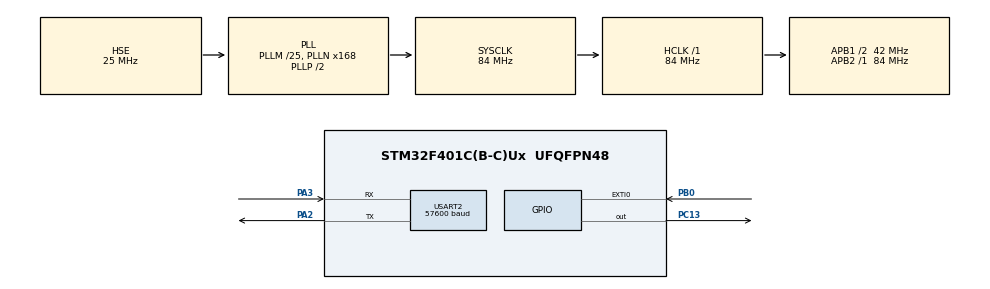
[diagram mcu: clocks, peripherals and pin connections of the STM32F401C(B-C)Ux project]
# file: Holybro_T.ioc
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Dma.Request0=USART2_TX
Dma.USART2_TX.0.Direction=DMA_MEMORY_TO_PERIPH
Dma.USART2_TX.0.FIFOMode=DMA_FIFOMODE_DISABLE
Dma.USART2_TX.0.Instance=DMA1_Stream6
Dma.USART2_TX.0.MemDataAlignment=DMA_MDATAALIGN_BYTE
Dma.USART2_TX.0.MemInc=DMA_MINC_ENABLE
Dma.USART2_TX.0.Mode=DMA_NORMAL
Dma.USART2_TX.0.PeriphDataAlignment=DMA_PDATAALIGN_BYTE
Dma.USART2_TX.0.PeriphInc=DMA_PINC_DISABLE
Dma.USART2_TX.0.Priority=DMA_PRIORITY_LOW
Mcu.Family=STM32F4
Mcu.Name=STM32F401C(B-C)Ux
Mcu.Package=UFQFPN48
NVIC.DMA1_Stream6_IRQn=true\:0\:0\:false\:false\:true\:false\:true\:true
NVIC.EXTI0_IRQn=true\:0\:0\:false\:false\:true\:true\:true\:true
NVIC.PriorityGroup=NVIC_PRIORITYGROUP_4
NVIC.USART2_IRQn=true\:0\:0\:false\:false\:true\:true\:true\:true
PA13.Mode=Serial_Wire
PA13.Signal=SYS_JTMS-SWDIO
PA14.Mode=Serial_Wire
PA14.Signal=SYS_JTCK-SWCLK
PA2.Mode=Asynchronous
PA2.Signal=USART2_TX
PA3.Mode=Asynchronous
PA3.Signal=USART2_RX
PB0.Signal=GPXTI0
PC13-ANTI_TAMP.Signal=GPIO_Output
PH0\ -\ OSC_IN.Mode=HSE-External-Oscillator
PH0\ -\ OSC_IN.Signal=RCC_OSC_IN
PH1\ -\ OSC_OUT.Mode=HSE-External-Oscillator
PH1\ -\ OSC_OUT.Signal=RCC_OSC_OUT
ProjectManager.HeapSize=0x200
ProjectManager.StackSize=0x400
ProjectManager.TargetToolchain=STM32CubeIDE
RCC.48MHZClocksFreq_Value=42000000
RCC.AHBFreq_Value=84000000
RCC.APB1CLKDivider=RCC_HCLK_DIV2
RCC.APB1Freq_Value=42000000
RCC.APB1TimFreq_Value=84000000
RCC.APB2Freq_Value=84000000
RCC.APB2TimFreq_Value=84000000
RCC.CortexFreq_Value=84000000
RCC.HCLKFreq_Value=84000000
RCC.HSE_VALUE=25000000
RCC.HSI_VALUE=16000000
RCC.LSE_VALUE=32768
RCC.PLLM=25
RCC.PLLN=168
RCC.PLLSourceVirtual=RCC_PLLSOURCE_HSE
RCC.SYSCLKFreq_VALUE=84000000
RCC.SYSCLKSource=RCC_SYSCLKSOURCE_PLLCLK
RCC.VCOOutputFreq_Value=168000000
USART2.BaudRate=57600
USART2.VirtualMode=VM_ASYNC
board=custom

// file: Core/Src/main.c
/* USER CODE BEGIN Header */
/**
  ******************************************************************************
  * @file           : main.c
  * @brief          : Main program body
  ******************************************************************************
  * @attention
  *
  * Copyright (c) 2025 STMicroelectronics.
  * All rights reserved.
  *
  * This software is licensed under terms that can be found in the LICENSE file
  * in the root directory of this software component.
  * If no LICENSE file comes with this software, it is provided AS-IS.
  *
  ******************************************************************************
  */
/* USER CODE END Header */
#include "main.h"

/* USER CODE BEGIN Includes */
#include "string.h"
/* USER CODE END Includes */

UART_HandleTypeDef huart2;
DMA_HandleTypeDef hdma_usart2_tx;

void SystemClock_Config(void);
static void MX_GPIO_Init(void);
static void MX_DMA_Init(void);
static void MX_USART2_UART_Init(void);

/* USER CODE BEGIN 0 */
uint8_t tx_data = 0;
uint8_t zero_count = 0;

typedef enum {
    TX_STATE_INIT,
    TX_STATE_IDLE,
    TX_STATE_CONTINUOUS_1
} TX_State;

TX_State current_state = TX_STATE_INIT;

// --- DMA Transfer Complete Callback ---
void HAL_UART_TxCpltCallback(UART_HandleTypeDef *huart) {
    switch (current_state) {
        case TX_STATE_INIT:
            zero_count++;
            if (zero_count < 3) {
                HAL_UART_Transmit_DMA(&huart2, &tx_data, 1);
            } else {
                current_state = TX_STATE_IDLE;
            }
            break;

        case TX_STATE_CONTINUOUS_1:
            HAL_UART_Transmit_DMA(&huart2, &tx_data, 1);
            break;

        case TX_STATE_IDLE:
        default:
            // Do nothing
            break;
    }
}

void HAL_GPIO_EXTI_Callback(uint16_t GPIO_Pin) {
    if (GPIO_Pin == GPIO_PIN_0 && current_state != TX_STATE_CONTINUOUS_1) {
    	HAL_GPIO_TogglePin(GPIOC, GPIO_PIN_13);
        tx_data = 1;
        current_state = TX_STATE_CONTINUOUS_1;
        HAL_UART_Transmit_DMA(&huart2, &tx_data, 1);
    }
}

/* USER CODE END 0 */

int main(void)
{

  /* MCU Configuration--------------------------------------------------------*/

  /* Reset of all peripherals, Initializes the Flash interface and the Systick. */
  HAL_Init();

  /* Configure the system clock */
  SystemClock_Config();

  /* Initialize all configured peripherals */
  MX_GPIO_Init();
  MX_DMA_Init();
  MX_USART2_UART_Init();
  /* USER CODE BEGIN 2 */
  current_state = TX_STATE_INIT;
    HAL_UART_Transmit_DMA(&huart2, &tx_data, 1);

  /* USER CODE END 2 */

  /* Infinite loop */
  while (1)
  {

  }
}

void SystemClock_Config(void)
{
  RCC_OscInitTypeDef RCC_OscInitStruct = {0};
  RCC_ClkInitTypeDef RCC_ClkInitStruct = {0};

  /** Configure the main internal regulator output voltage
  */
  __HAL_RCC_PWR_CLK_ENABLE();
  __HAL_PWR_VOLTAGESCALING_CONFIG(PWR_REGULATOR_VOLTAGE_SCALE2);

  /** Initializes the RCC Oscillators according to the specified parameters
  * in the RCC_OscInitTypeDef structure.
  */
  RCC_OscInitStruct.OscillatorType = RCC_OSCILLATORTYPE_HSE;
  RCC_OscInitStruct.HSEState = RCC_HSE_ON;
  RCC_OscInitStruct.PLL.PLLState = RCC_PLL_ON;
  RCC_OscInitStruct.PLL.PLLSource = RCC_PLLSOURCE_HSE;
  RCC_OscInitStruct.PLL.PLLM = 25;
  RCC_OscInitStruct.PLL.PLLN = 168;
  RCC_OscInitStruct.PLL.PLLP = RCC_PLLP_DIV2;
  RCC_OscInitStruct.PLL.PLLQ = 4;
  if (HAL_RCC_OscConfig(&RCC_OscInitStruct) != HAL_OK)
  {
    Error_Handler();
  }

  /** Initializes the CPU, AHB and APB buses clocks
  */
  RCC_ClkInitStruct.ClockType = RCC_CLOCKTYPE_HCLK|RCC_CLOCKTYPE_SYSCLK
                              |RCC_CLOCKTYPE_PCLK1|RCC_CLOCKTYPE_PCLK2;
  RCC_ClkInitStruct.SYSCLKSource = RCC_SYSCLKSOURCE_PLLCLK;
  RCC_ClkInitStruct.AHBCLKDivider = RCC_SYSCLK_DIV1;
  RCC_ClkInitStruct.APB1CLKDivider = RCC_HCLK_DIV2;
  RCC_ClkInitStruct.APB2CLKDivider = RCC_HCLK_DIV1;

  if (HAL_RCC_ClockConfig(&RCC_ClkInitStruct, FLASH_LATENCY_2) != HAL_OK)
  {
    Error_Handler();
  }
}

static void MX_USART2_UART_Init(void)
{

  huart2.Instance = USART2;
  huart2.Init.BaudRate = 57600;
  huart2.Init.WordLength = UART_WORDLENGTH_8B;
  huart2.Init.StopBits = UART_STOPBITS_1;
  huart2.Init.Parity = UART_PARITY_NONE;
  huart2.Init.Mode = UART_MODE_TX_RX;
  huart2.Init.HwFlowCtl = UART_HWCONTROL_NONE;
  huart2.Init.OverSampling = UART_OVERSAMPLING_16;
  if (HAL_UART_Init(&huart2) != HAL_OK)
  {
    Error_Handler();
  }

}

static void MX_DMA_Init(void)
{

  /* DMA controller clock enable */
  __HAL_RCC_DMA1_CLK_ENABLE();

  /* DMA interrupt init */
  /* DMA1_Stream6_IRQn interrupt configuration */
  HAL_NVIC_SetPriority(DMA1_Stream6_IRQn, 0, 0);
  HAL_NVIC_EnableIRQ(DMA1_Stream6_IRQn);

}

static void MX_GPIO_Init(void)
{
  GPIO_InitTypeDef GPIO_InitStruct = {0};

  /* GPIO Ports Clock Enable */
  __HAL_RCC_GPIOC_CLK_ENABLE();
  __HAL_RCC_GPIOH_CLK_ENABLE();
  __HAL_RCC_GPIOA_CLK_ENABLE();
  __HAL_RCC_GPIOB_CLK_ENABLE();

  /*Configure GPIO pin Output Level */
  HAL_GPIO_WritePin(GPIOC, GPIO_PIN_13, GPIO_PIN_RESET);

  /*Configure GPIO pin : PC13 */
  GPIO_InitStruct.Pin = GPIO_PIN_13;
  GPIO_InitStruct.Mode = GPIO_MODE_OUTPUT_PP;
  GPIO_InitStruct.Pull = GPIO_NOPULL;
  GPIO_InitStruct.Speed = GPIO_SPEED_FREQ_LOW;
  HAL_GPIO_Init(GPIOC, &GPIO_InitStruct);

  /*Configure GPIO pin : PB0 */
  GPIO_InitStruct.Pin = GPIO_PIN_0;
  GPIO_InitStruct.Mode = GPIO_MODE_IT_RISING;
  GPIO_InitStruct.Pull = GPIO_NOPULL;
  HAL_GPIO_Init(GPIOB, &GPIO_InitStruct);

  /* EXTI interrupt init*/
  HAL_NVIC_SetPriority(EXTI0_IRQn, 0, 0);
  HAL_NVIC_EnableIRQ(EXTI0_IRQn);

}

void Error_Handler(void)
{
  __disable_irq();
  while (1)
  {
  }
}
